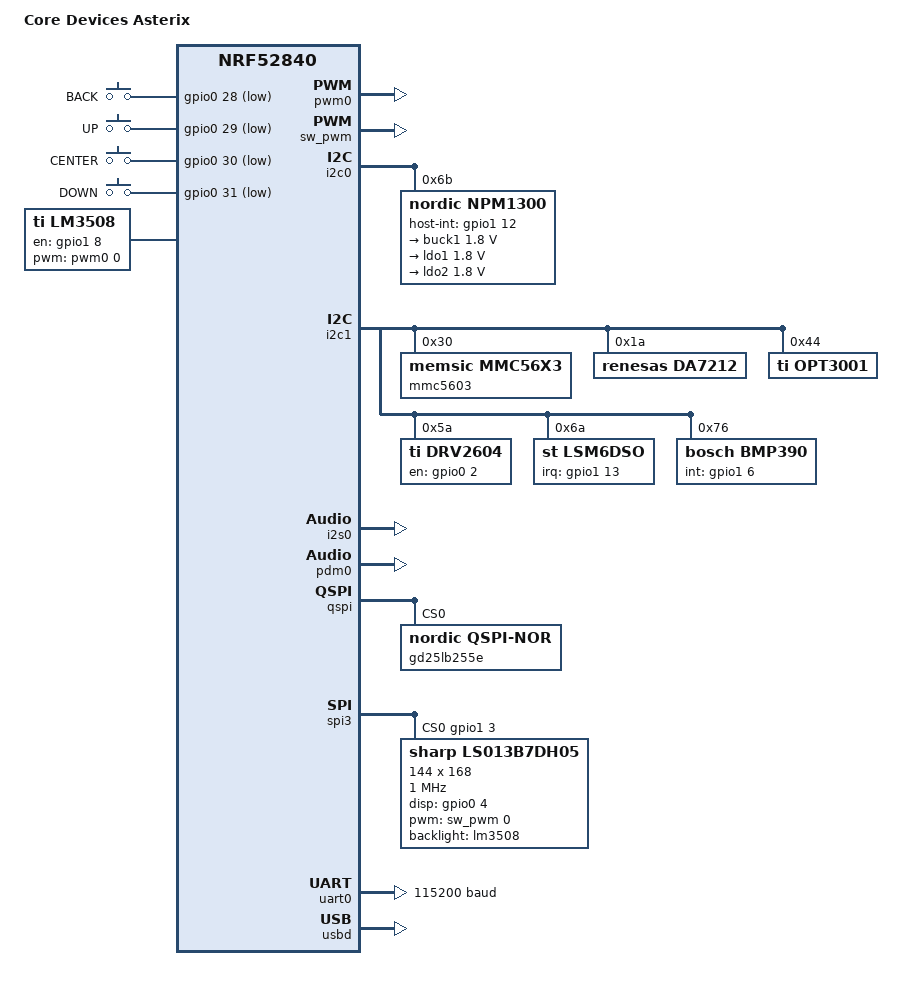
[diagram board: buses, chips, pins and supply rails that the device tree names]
/dts-v1/;

#include <nordic/nrf52840_qiaa.dtsi>
#include <nordic/nrf52840_partition.dtsi>
#include "asterix-pinctrl.dtsi"

#include <zephyr/dt-bindings/input/input-event-codes.h>
#include <zephyr/dt-bindings/regulator/npm1300.h>
#include <zephyr/dt-bindings/sensor/lsm6dso.h>

/ {
	model = "Core Devices Asterix";
	compatible = "coredevices,asterix";

	chosen {
		zephyr,console = &uart0;
		zephyr,shell-uart = &uart0;
		zephyr,display = &ls013b7dh05;
	};

	aliases {
		buttons = &buttons;
		charger0 = &charger;
		led0 = &lm3508;
		light0 = &opt3001;
		mag0 = &mmc5603;
		press0 = &bmp390;
		imu0 = &lsm6dso;
		haptic0 = &drv2604;
		flash0 = &gd25lb255e;
		dmic0 = &pdm0;
	};

	buttons: buttons {
		compatible = "gpio-keys";

		btn_back: button-back {
			gpios = <&gpio0 28 (GPIO_PULL_UP | GPIO_ACTIVE_LOW)>;
			label = "BACK";
			zephyr,code = <INPUT_KEY_BACK>;
		};

		btn_up: button-up {
			gpios = <&gpio0 29 (GPIO_PULL_UP | GPIO_ACTIVE_LOW)>;
			label = "UP";
			zephyr,code = <INPUT_KEY_UP>;
		};

		btn_center: button-center {
			gpios = <&gpio0 30 (GPIO_PULL_UP | GPIO_ACTIVE_LOW)>;
			label = "CENTER";
			zephyr,code = <INPUT_KEY_ENTER>;
		};

		btn_down: button-down {
			gpios = <&gpio0 31 (GPIO_PULL_UP | GPIO_ACTIVE_LOW)>;
			label = "DOWN";
			zephyr,code = <INPUT_KEY_DOWN>;
		};
	};

	lm3508: backlight {
		compatible = "ti,lm3508";
		en-gpios = <&gpio1 8 GPIO_ACTIVE_HIGH>;
		pwms = <&pwm0 0 PWM_HZ(256) PWM_POLARITY_NORMAL>;
	};
};

&gpiote {
	status = "okay";
};

&gpio0 {
	status = "okay";
};

&gpio1 {
	status = "okay";
};

&pwm0 {
	status = "okay";
	pinctrl-0 = <&pwm0_default>;
	pinctrl-1 = <&pwm0_sleep>;
	pinctrl-names = "default", "sleep";
};

&sw_pwm {
	status = "okay";
	generator = <&rtc2>;
	channel-gpios = <&gpio1 15 GPIO_ACTIVE_HIGH>;
};

&i2c0 {
	compatible = "nordic,nrf-twim";
	status = "okay";
	pinctrl-0 = <&i2c0_default>;
	pinctrl-1 = <&i2c0_sleep>;
	pinctrl-names = "default", "sleep";

	npm1300: pmic@6b {
		compatible = "nordic,npm1300";
		reg = <0x6b>;
		pmic-int-pin = <1>;
		host-int-gpios = <&gpio1 12 GPIO_ACTIVE_HIGH>;

		regulators {
			compatible = "nordic,npm1300-regulator";

			buck1: BUCK1 {
				regulator-min-microvolt = <1800000>;
				regulator-max-microvolt = <1800000>;
				regulator-boot-on;
			};

			ldo1: LDO1 {
				regulator-min-microvolt = <1800000>;
				regulator-max-microvolt = <1800000>;
				regulator-allowed-modes = <NPM1300_LDSW_MODE_LDO>;
				regulator-initial-mode = <NPM1300_LDSW_MODE_LDO>;
				regulator-init-microvolt = <1800000>;
				regulator-boot-on;
			};

			ldo2: LDO2 {
				regulator-min-microvolt = <1800000>;
				regulator-max-microvolt = <1800000>;
				regulator-allowed-modes = <NPM1300_LDSW_MODE_LDO>;
				regulator-initial-mode = <NPM1300_LDSW_MODE_LDO>;
				regulator-init-microvolt = <1800000>;
				regulator-boot-on;
			};
		};

		charger: charger {
			compatible = "nordic,npm1300-charger";
			term-microvolt = <4150000>;
			term-warm-microvolt = <4000000>;
			current-microamp = <150000>;
			dischg-limit-microamp = <1000000>;
			vbus-limit-microamp = <500000>;
			thermistor-ohms = <10000>;
			thermistor-beta = <3380>;
			charging-enable;
		};
	};
};

&i2c1 {
	compatible = "nordic,nrf-twim";
	status = "okay";
	pinctrl-0 = <&i2c1_default>;
	pinctrl-1 = <&i2c1_sleep>;
	pinctrl-names = "default", "sleep";

	mmc5603: magnetic-sensor@30 {
		compatible = "memsic,mmc56x3";
		reg = <0x30>;
		magn-odr = <0>;
	};

	da7212: audio-codec@1a {
		compatible = "renesas,da7212";
		reg = <0x1a>;
	};

	opt3001: light-sensor@44 {
		compatible = "ti,opt3001";
		reg = <0x44>;
		/* int-gpios = <&gpio1 1 GPIO_ACTIVE_HIGH>; */
	};

	drv2604: haptic@5a {
		compatible = "ti,drv2604";
		reg = <0x5a>;
		en-gpios = <&gpio0 2 GPIO_ACTIVE_HIGH>;
	};

	lsm6dso: imu-sensor@6a {
		compatible = "st,lsm6dso";
		reg = <0x6a>;
		irq-gpios = <&gpio1 13 GPIO_ACTIVE_HIGH>;
		accel-pm = <LSM6DSO_DT_XL_ULP_MODE>;
		gyro-pm = <LSM6DSO_DT_GY_NORMAL_MODE>;
	};

	bmp390: pressure-sensor@76 {
		compatible = "bosch,bmp390";
		reg = <0x76>;
		odr = "50";
		int-gpios = <&gpio1 6 GPIO_ACTIVE_HIGH>;
	};
};

&i2s0 {
	compatible = "nordic,nrf-i2s";
	status = "okay";
	pinctrl-0 = <&i2s0_default>;
	pinctrl-1 = <&i2s0_sleep>;
	pinctrl-names = "default", "sleep";
};

&reg1 {
	regulator-initial-mode = <NRF5X_REG_MODE_LDO>;
};

&pdm0 {
	status = "okay";
	pinctrl-0 = <&pdm0_default>;
	pinctrl-names = "default";
	clock-source = "PCLK32M_HFXO";
};

&qspi {
	status = "okay";
	pinctrl-0 = <&qspi_default>;
	pinctrl-1 = <&qspi_sleep>;
	pinctrl-names = "default", "sleep";

	gd25lb255e: memory@0 {
		compatible = "nordic,qspi-nor";
		reg = <0>;
		writeoc = "pp4o";
		readoc = "read4io";
		sck-frequency = <8000000>;
		quad-enable-requirements = "S2B1v1";
		address-size-32;
		jedec-id = [c8 60 19];
		sfdp-bfp = [
			e5 20 f3 ff  ff ff ff 0f  44 eb 08 6b  08 3b 42 bb
			fe ff ff ff  ff ff 00 ff  ff ff 42 eb  0c 20 0f 52
			10 d8 00 ff  d4 31 a5 fe  84 df 14 4f  ec 62 16 33
			7a 75 7a 75  04 b3 d5 5c  19 06 14 00  08 50 00 01
		];
		size = <DT_SIZE_M(32)>;
		has-dpd;
		t-enter-dpd = <3000>;
		t-exit-dpd = <20000>;
	};
};

&spi3 {
	compatible = "nordic,nrf-spim";
	status = "okay";
	cs-gpios = <&gpio1 3 GPIO_ACTIVE_HIGH>;
	pinctrl-0 = <&spi3_default>;
	pinctrl-1 = <&spi3_sleep>;
	pinctrl-names = "default", "sleep";
	zephyr,pm-device-runtime-auto;

	ls013b7dh05: display@0 {
		compatible = "sharp,ls013b7dh05";
		reg = <0x0>;
		disp-gpios = <&gpio0 4 GPIO_ACTIVE_HIGH>;
		pwms = <&sw_pwm 0 PWM_HZ(60) PWM_POLARITY_NORMAL>;
		pwm-names = "extcomin";
		spi-max-frequency = <DT_FREQ_M(1)>;
		backlight = <&lm3508>;
		height = <168>;
		width = <144>;
	};
};

&uart0 {
	status = "okay";
	current-speed = <115200>;
	pinctrl-0 = <&uart0_default>;
	pinctrl-1 = <&uart0_sleep>;
	pinctrl-names = "default", "sleep";
};

&uicr {
	gpio-as-nreset;
};

zephyr_udc0: &usbd {
	compatible = "nordic,nrf-usbd";
	status = "okay";
};
